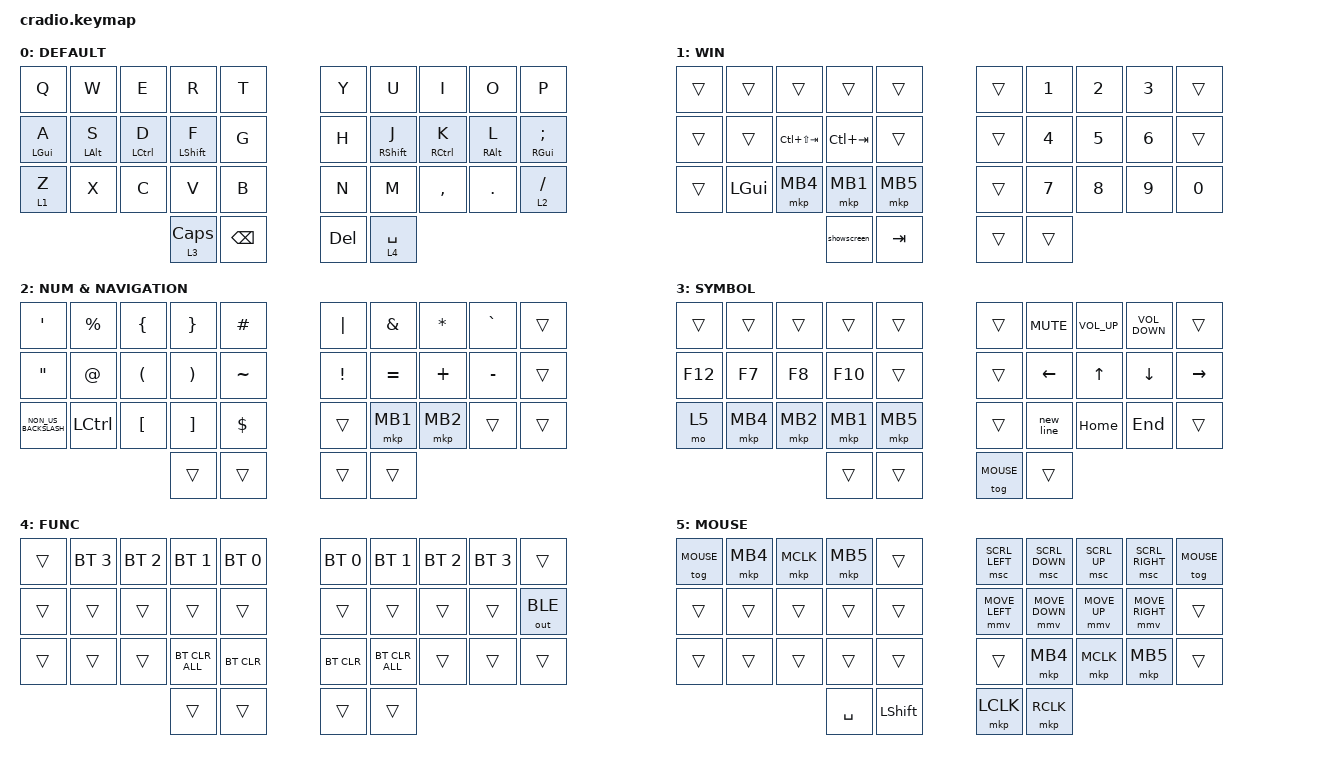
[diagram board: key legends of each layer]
// Copyright (c) 2022 The ZMK Contributors
// SPDX-License-Identifier: MIT

#define ZMK_POINTING_DEFAULT_MOVE_VAL 2500  // 600
#define ZMK_POINTING_DEFAULT_SCRL_VAL 20    // 10

#include "behaviors/character_map.dtsi"
#include "behaviors/send_string.dtsi"
#include "behaviors/report.dtsi"
#include <behaviors.dtsi>
#include <dt-bindings/zmk/bt.h>
#include <dt-bindings/zmk/keys.h>
#include <dt-bindings/zmk/pointing.h>

#define MAC 0
#define WIN 1
#define RIG 2
#define LEF 3
#define TRI 4
#define MOUSE 5

// https://zmk.dev/docs/development/hardware-integration/soft-off-setup?advanced-methods=wakeup&kscan-type=dkscan

/ {
    keys {
        compatible = "gpio-keys";

        soft_off_gpio_key: soft_off_gpio_key { gpios = <&gpio1 6 (GPIO_ACTIVE_LOW | GPIO_PULL_UP)>; };
    };

    wakeup_scan: wakeup_scan {
        compatible = "zmk,kscan-gpio-direct";
        input-keys = <&soft_off_gpio_key>;
        wakeup-source;
    };

    side_band_behavior_triggers: side_band_behavior_triggers {
        compatible = "zmk,kscan-sideband-behaviors";
        kscan = <&wakeup_scan>;
        auto-enable;
        wakeup-source;
    };

    soft_off_wakers {
        compatible = "zmk,soft-off-wakeup-sources";
        wakeup-sources = <&wakeup_scan>;
    };
};

/ {
    vbatt: vbatt { compatible = "zmk,battery-nrf-vddh"; };

    chosen {
        zmk,charmap = &charmap_us;
        zmk,battery = &vbatt;
    };

    combos {
        compatible = "zmk,combos";

        tab {
            bindings = <&kp TAB>;
            key-positions = <11 12>;
        };

        shift_tab {
            bindings = <&kp LS(TAB)>;
            key-positions = <12 13>;
        };

        muhennkann {
            bindings = <&to_layer_0 INT_MUHENKAN>;
            key-positions = <11 10>;
        };

        combo_esc {
            timeout-ms = <50>;
            key-positions = <6 7>;
            bindings = <&kp ESC>;
        };

        delete {
            timeout-ms = <100>;
            key-positions = <22 23>;
            bindings = <&kp ENTER>;
        };

        lockscreen {
            bindings = <&kp LG(LC(Q))>;
            key-positions = <4 5>;
        };

        printscreen {
            bindings = <&kp LG(RS(N5))>;
            key-positions = <14 15>;
        };

        right_enter {
            bindings = <&kp ENTER>;
            key-positions = <26 27>;
        };
    };

    macros {
        to_layer_0: to_layer_0 {
            compatible = "zmk,behavior-macro-one-param";
            #binding-cells = <1>;
            bindings = <&to 0 &macro_param_1to1 &kp MACRO_PLACEHOLDER>;
            label = "TO_LAYER_0";
        };

        new_line: new_line {
            compatible = "zmk,behavior-macro";
            #binding-cells = <0>;
            bindings = <&kp LC(E) &kp ENTER>;
            label = "NEW_LINE";
        };
    };

    behaviors {
        showscreen: showscreen {
            compatible = "zmk,behavior-tap-dance";
            label = "SHOWSCREEN";
            #binding-cells = <0>;
            bindings = <&kp LC(UP_ARROW)>, <&kp LG(UP_ARROW)>;

            tapping-term-ms = <180>;
        };

        ht: hold_tap {
            display-name = "hold_tap";
            compatible = "zmk,behavior-hold-tap";
            #binding-cells = <2>;
            flavor = "balanced";
            tapping-term-ms = <200>;
            quick-tap-ms = <150>;
            bindings = <&kp>, <&kp>;
        };

        mmv {
            acceleration-exponent = <1>;      // 1
            time-to-max-speed-ms = <300>;    // 40
            delay-ms = <0>;                   // 0
        };

        msc {
            acceleration-exponent = <0>;      // 0
            time-to-max-speed-ms = <40>;      // 500
            delay-ms = <0>;                   // 10
        };
    };

    keymap {
        compatible = "zmk,keymap";

        default_layer {
            display-name = "DEFAULT";
            bindings = <
&kp Q       &kp W       &kp E        &kp R           &kp T            &kp Y    &kp U              &kp I        &kp O       &kp P
&ht LGUI A  &ht LALT S  &ht LCTRL D  &ht LSHIFT F    &kp G            &kp H    &ht RIGHT_SHIFT J  &ht RCTRL K  &ht RALT L  &ht RGUI SEMICOLON
&lt 1 Z     &kp X       &kp C        &kp V           &kp B            &kp N    &kp M              &kp COMMA    &kp DOT     &lt 2 SLASH
                                     &lt 3 CAPSLOCK  &kp BACKSPACE    &kp DEL  &lt 4 SPACE
            >;
        };

        windows_layer {
            display-name = "WIN";
            bindings = <
&trans  &trans        &trans           &trans       &trans      &trans  &kp NUMBER_1  &kp NUMBER_2  &kp NUMBER_3  &trans
&trans  &trans        &kp LC(LS(TAB))  &kp LC(TAB)  &trans      &trans  &kp NUMBER_4  &kp N5        &kp NUMBER_6  &trans
&trans  &kp LEFT_GUI  &mkp MB4         &mkp MB1     &mkp MB5    &trans  &kp N7        &kp N8        &kp N9        &kp N0
                                       &showscreen  &kp TAB     &trans  &trans
            >;
        };

        right_layer {
            display-name = "NUM & NAVIGATION";
            bindings = <
&kp SQT               &kp PERCENT  &kp LEFT_BRACE        &kp RIGHT_BRACE        &kp HASH      &kp PIPE         &kp AMPERSAND  &kp ASTERISK  &kp GRAVE  &trans
&kp DQT               &kp AT_SIGN  &kp LEFT_PARENTHESIS  &kp RIGHT_PARENTHESIS  &kp TILDE     &kp EXCLAMATION  &kp EQUAL      &kp PLUS      &kp MINUS  &trans
&kp NON_US_BACKSLASH  &kp LCTRL    &kp LEFT_BRACKET      &kp RIGHT_BRACKET      &kp DOLLAR    &trans           &mkp MB1       &mkp MB2      &trans     &trans
                                                         &trans                 &trans        &trans           &trans
            >;
        };

        left_layer {
            display-name = "SYMBOL";
            bindings = <
&trans   &trans    &trans    &trans    &trans      &trans      &kp K_MUTE  &kp C_VOLUME_UP  &kp C_VOLUME_DOWN  &trans
&kp F12  &kp F7    &kp F8    &kp F10   &trans      &trans      &kp LEFT    &kp UP_ARROW     &kp DOWN_ARROW     &kp RIGHT
&mo 5    &mkp MB4  &mkp MB2  &mkp MB1  &mkp MB5    &trans      &new_line   &kp HOME         &kp END            &trans
                             &trans    &trans      &tog MOUSE  &trans
            >;
        };

        tri_layer {
            display-name = "FUNC";
            bindings = <
&trans  &bt BT_SEL 3  &bt BT_SEL 2  &bt BT_SEL 1  &bt BT_SEL 0    &bt BT_SEL 0  &bt BT_SEL 1    &bt BT_SEL 2  &bt BT_SEL 3  &trans
&trans  &trans        &trans        &trans        &trans          &trans        &trans          &trans        &trans        &out OUT_BLE
&trans  &trans        &trans        &bt BT_CLR_ALL  &bt BT_CLR      &bt BT_CLR    &bt BT_CLR_ALL  &trans        &trans        &trans
                                    &trans        &trans          &trans        &trans
            >;
        };

        mouse {
            display-name = "MOUSE";
            bindings = <
&tog MOUSE  &mkp MB4  &mkp MCLK  &mkp MB5   &trans        &msc SCRL_LEFT  &msc SCRL_DOWN  &msc SCRL_UP  &msc SCRL_RIGHT  &tog MOUSE
&trans      &trans    &trans     &trans     &trans        &mmv MOVE_LEFT  &mmv MOVE_DOWN  &mmv MOVE_UP  &mmv MOVE_RIGHT  &trans
&trans      &trans    &trans     &trans     &trans        &trans          &mkp MB4        &mkp MCLK     &mkp MB5         &trans
                                 &kp SPACE  &kp LSHIFT    &mkp LCLK       &mkp RCLK
            >;
        };
    };
};
